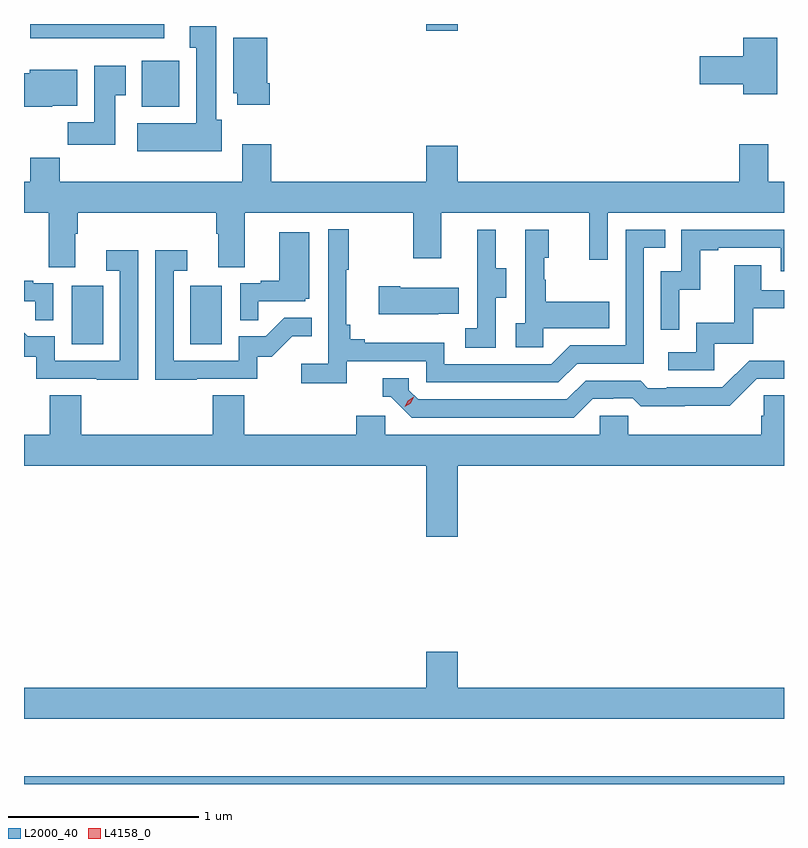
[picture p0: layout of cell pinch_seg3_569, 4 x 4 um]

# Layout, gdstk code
import gdstk
lib = gdstk.Library(unit=1e-6, precision=1e-09)
def R(c, l, rs):  # rectangles x0, y0, x1, y1
    for r in rs: c.add(gdstk.rectangle(r[:2], r[2:], *l))
def P(c, l, *ps):  # polygons
    for p in ps: c.add(gdstk.Polygon(p, *l))
L2000_40 = (2000, 40)
L4158_0 = (4158, 0)

pinch_seg3_569 = lib.new_cell('pinch_seg3_569')
R(pinch_seg3_569, L2000_40, [(1038.014,699.241,1042.014,699.283), (1038.266,701.556,1038.43,701.863), (1038.89,701.556,1039.054,701.863), (1038.635,702.806,1038.832,703.048), (1038.047,703.166,1038.751,703.241), (1040.132,703.206,1040.296,703.241)])
P(pinch_seg3_569, L2000_40, [(1039.054,702.738),(1039.027,702.738),(1039.027,703.228),(1038.887,703.228),(1038.887,703.115),(1038.92,703.115),(1038.92,702.718),(1038.611,702.718),(1038.611,702.572),(1039.054,702.572)],
  [(1041.979,703.168),(1041.8,703.168),(1041.8,703.07),(1041.57,703.07),(1041.57,702.923),(1041.8,702.923),(1041.8,702.872),(1041.979,702.872)],
  [(1039.307,702.928),(1039.294,702.928),(1039.294,703.168),(1039.115,703.168),(1039.115,702.876),(1039.136,702.876),(1039.136,702.816),(1039.307,702.816)],
  [(1038.493,702.865),(1038.55,702.865),(1038.55,703.021),(1038.383,703.021),(1038.383,702.724),(1038.244,702.724),(1038.244,702.606),(1038.493,702.606)],
  [(1038.162,702.812),(1038.295,702.812),(1038.295,703),(1038.044,703),(1038.044,702.983),(1038.014,702.983),(1038.014,702.806),(1038.162,702.806)],
  [(1038.283,702.136),(1038.296,702.136),(1038.296,702.248),(1039.025,702.248),(1039.025,702.136),(1039.037,702.136),(1039.037,701.962),(1039.177,701.962),(1039.177,702.248),(1040.062,702.248),(1040.062,702.009),(1040.209,702.009),(1040.209,702.248),(1040.99,702.248),(1040.99,702),(1041.087,702),(1041.087,702.248),(1042.014,702.248),(1042.014,702.412),(1041.931,702.412),(1041.931,702.607),(1041.779,702.607),(1041.779,702.412),(1040.296,702.412),(1040.296,702.601),(1040.132,702.601),(1040.132,702.412),(1039.316,702.412),(1039.316,702.607),(1039.163,702.607),(1039.163,702.412),(1038.203,702.412),(1038.203,702.536),(1038.047,702.536),(1038.047,702.412),(1038.014,702.412),(1038.014,702.248),(1038.143,702.248),(1038.143,701.962),(1038.283,701.962)],
  [(1039.712,701.466),(1040.13,701.466),(1040.13,701.355),(1040.827,701.355),(1040.926,701.454),(1041.276,701.454),(1041.276,702.063),(1041.389,702.063),(1041.389,702.159),(1041.18,702.159),(1041.18,701.55),(1040.889,701.55),(1040.79,701.451),(1040.226,701.451),(1040.226,701.563),(1039.807,701.563),(1039.807,701.582),(1039.73,701.582),(1039.73,701.659),(1039.711,701.659),(1039.711,701.947),(1039.723,701.947),(1039.723,702.16),(1039.614,702.16),(1039.614,701.452),(1039.473,701.452),(1039.473,701.35),(1039.712,701.35)],
  [(1041.462,701.843),(1041.572,701.843),(1041.572,702.051),(1041.667,702.051),(1041.667,702.063),(1041.996,702.063),(1041.996,701.94),(1042.014,701.94),(1042.014,702.159),(1041.474,702.159),(1041.474,701.94),(1041.366,701.94),(1041.366,701.631),(1041.462,701.631)],
  [(1040.496,701.8),(1040.551,701.8),(1040.551,701.955),(1040.497,701.955),(1040.497,702.157),(1040.399,702.157),(1040.399,701.943),(1040.4,701.943),(1040.4,701.639),(1040.337,701.639),(1040.337,701.536),(1040.496,701.536)],
  [(1040.748,701.639),(1041.095,701.639),(1041.095,701.779),(1040.761,701.779),(1040.761,701.894),(1040.751,701.894),(1040.751,702.012),(1040.776,702.012),(1040.776,702.157),(1040.652,702.157),(1040.652,701.666),(1040.601,701.666),(1040.601,701.541),(1040.748,701.541)],
  [(1039.247,701.781),(1039.494,701.781),(1039.494,701.796),(1039.516,701.796),(1039.516,702.145),(1039.358,702.145),(1039.358,701.89),(1039.259,701.89),(1039.259,701.877),(1039.152,701.877),(1039.152,701.683),(1039.247,701.683)],
  [(1038.615,702.049),(1038.447,702.049),(1038.447,701.943),(1038.519,701.943),(1038.519,701.469),(1038.177,701.469),(1038.177,701.598),(1038.033,701.598),(1038.014,701.617),(1038.014,701.49),(1038.079,701.49),(1038.079,701.373),(1038.397,701.373),(1038.397,701.368),(1038.615,701.368)],
  [(1038.923,701.373),(1039.242,701.373),(1039.242,701.49),(1039.318,701.49),(1039.425,701.597),(1039.529,701.597),(1039.529,701.696),(1039.385,701.696),(1039.287,701.598),(1039.143,701.598),(1039.143,701.469),(1038.801,701.469),(1038.801,701.943),(1038.874,701.943),(1038.874,702.049),(1038.705,702.049),(1038.705,701.368),(1038.923,701.368)],
  [(1041.648,701.559),(1041.853,701.559),(1041.853,701.745),(1042.014,701.745),(1042.014,701.841),(1041.895,701.841),(1041.895,701.971),(1041.751,701.971),(1041.751,701.668),(1041.552,701.668),(1041.552,701.514),(1041.405,701.514),(1041.405,701.418),(1041.648,701.418)],
  [(1038.168,701.877),(1038.062,701.877),(1038.062,701.89),(1038.014,701.89),(1038.014,701.781),(1038.073,701.781),(1038.073,701.683),(1038.168,701.683)],
  [(1040.195,701.717),(1040.303,701.717),(1040.303,701.854),(1039.993,701.854),(1039.993,701.862),(1039.881,701.862),(1039.881,701.714),(1040.195,701.714)],
  [(1041.007,701.268),(1041.114,701.268),(1041.114,701.271),(1041.217,701.271),(1041.259,701.229),(1041.492,701.229),(1041.492,701.231),(1041.728,701.231),(1041.87,701.373),(1042.014,701.373),(1042.014,701.469),(1041.831,701.469),(1041.69,701.328),(1041.397,701.328),(1041.397,701.325),(1041.298,701.325),(1041.259,701.364),(1040.97,701.364),(1040.871,701.265),(1040.088,701.265),(1040.04,701.313),(1040.04,701.376),(1039.901,701.376),(1039.901,701.28),(1039.944,701.28),(1040.055,701.169),(1040.908,701.169)],
  [(1042.014,701.288),(1041.907,701.288),(1041.907,701.178),(1041.893,701.178),(1041.893,701.08),(1041.195,701.08),(1041.195,701.178),(1041.045,701.178),(1041.045,701.08),(1039.914,701.08),(1039.914,701.178),(1039.763,701.178),(1039.763,701.08),(1039.172,701.08),(1039.172,701.288),(1039.007,701.288),(1039.007,701.08),(1038.314,701.08),(1038.314,701.288),(1038.149,701.288),(1038.149,701.08),(1038.014,701.08),(1038.014,700.916),(1040.132,700.916),(1040.132,700.542),(1040.296,700.542),(1040.296,700.916),(1042.014,700.916)],
  [(1042.014,699.748),(1040.296,699.748),(1040.296,699.937),(1040.132,699.937),(1040.132,699.748),(1038.014,699.748),(1038.014,699.584),(1042.014,699.584)])
P(pinch_seg3_569, L4158_0, [(1040.018,701.226),(1040.018,701.226),(1040.034,701.259),(1040.065,701.278),(1040.065,701.278),(1040.065,701.278),(1040.049,701.245),(1040.018,701.226)])

lib.write_gds('pinch_seg3_569.gds')
